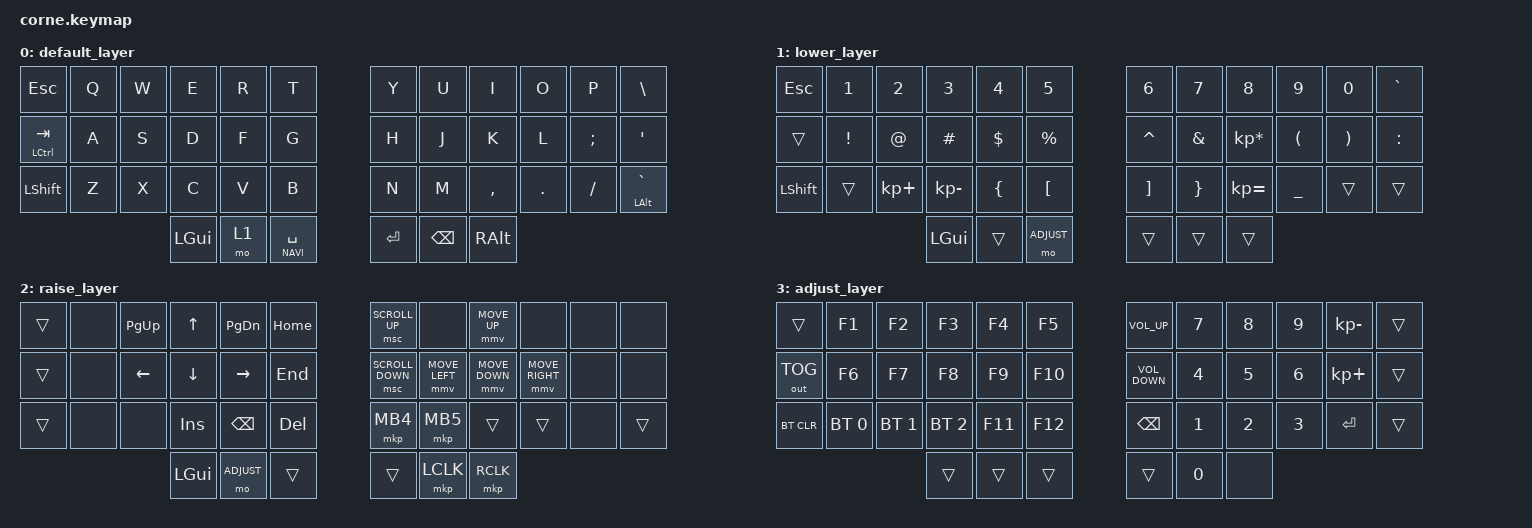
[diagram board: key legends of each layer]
/*
 * Copyright (c) 2020 The ZMK Contributors
 *
 * SPDX-License-Identifier: MIT
 */

#include <behaviors.dtsi>
#include <dt-bindings/zmk/mouse.h>
#include "mouse.dtsi"
#include <dt-bindings/zmk/bt.h>
#include <dt-bindings/zmk/ext_power.h>
#include <dt-bindings/zmk/keys.h>
#include <dt-bindings/zmk/outputs.h>
#include <dt-bindings/zmk/backlight.h>
#include <dt-bindings/zmk/rgb.h>

#define QWERTY 0
#define NUMB 1
#define NAVI 2
#define ADJUST 3

/*
&led_strip { chain-length = <27>; };
*/

/ {
    behaviors {
        hm: homerow_mods {
        compatible = "zmk,behavior-hold-tap";
        label = "HOMEROW_MODS";
        #binding-cells = <2>;
        tapping-term-ms = <130>;
        quick_tap_ms = <0>;
        flavor = "tap-preferred";
        bindings = <&kp>, <&kp>;
        };
    };

    keymap {
        compatible = "zmk,keymap";

        default_layer {
            // .--------------------------------------------------------------.       .-----------------------------------------------------------.
            // |   ESC        |    Q    |    W   |   E    |    R    |    T    |       |   Y   |    U    |    I    |    O    |     P    |    \     |
            // |--------------+---------+--------+--------+---------+---------|       |-------+---------+---------+---------+----------+----------|
            // |   CTRL/Tab   |    A    |    S   |   D    |    F    |    G    |       |   H   |    J    |    K    |    L    |     ;    |     '    |
            // |--------------+---------+--------+--------+---------+---------|       |-------+---------+---------+---------+----------+----------|
            // |   SHFT       |    Z    |    X   |   C    |    V    |    B    |       |   N   |    M    |    ,    |    .    |     /    | ` | LALT  |
            // '---------------------------------+--------+---------+---------+       |-------+---------+---------+-------------------------------'
            //                                   |  GUI   |   MO1   |   SPC   |       |   ENT |   BKSP  |  RALT   |
            //                                   '--------+---------+---------'       '-------+---------+---------'

            bindings = <
&kp ESC        &kp Q  &kp W  &kp E     &kp R  &kp T             &kp Y    &kp U     &kp I      &kp O    &kp P     &kp BACKSLASH
&mt LCTRL TAB  &kp A  &kp S  &kp D     &kp F  &kp G             &kp H    &kp J     &kp K      &kp L    &kp SEMI  &kp SQT
&kp LSHFT      &kp Z  &kp X  &kp C     &kp V  &kp B             &kp N    &kp M     &kp COMMA  &kp DOT  &kp FSLH  &mt LALT GRAVE
                                 &kp LGUI  &mo 1  &lt NAVI SPACE    &kp RET  &kp BSPC  &kp RALT
            >;
        };

        lower_layer {
            // .--------------------------------------------------------------.       .-----------------------------------------------------------.
            // |   ESC        |    1    |    2   |   3    |    4    |    5    |       |   6   |    7    |    8    |    9    |     0    |    `     |
            // |--------------+---------+--------+--------+---------+---------|       |-------+---------+---------+---------+----------+----------|
            // |              |    !    |    @   |   #    |    $    |    %    |       |   ^   |    &    |    *    |    (    |     )    |     :    |
            // |--------------+---------+--------+--------+---------+---------|       |-------+---------+---------+---------+----------+----------|
            // |   SHFT       |         |    +   |   -    |    {    |    [    |       |   ]   |    }    |    =    |    _    |          |          |
            // '---------------------------------+--------+---------+---------+       |-------+---------+---------+-------------------------------'
            //                                   |  GUI   |         |   MO3   |       |   ,   |    .    |   ?     |
            //                                   '--------+---------+---------'       '-------+---------+---------'

            bindings = <
&kp ESC    &kp N1    &kp N2       &kp N3        &kp N4          &kp N5              &kp N6             &kp N7           &kp N8           &kp N9          &kp N0    &kp GRAVE
&trans     &kp EXCL  &kp AT       &kp HASH      &kp DLLR        &kp PRCNT           &kp CARET          &kp AMPS         &kp KP_MULTIPLY  &kp LPAR        &kp RPAR  &kp COLON
&kp LSHFT  &trans    &kp KP_PLUS  &kp KP_MINUS  &kp LEFT_BRACE  &kp LEFT_BRACKET    &kp RIGHT_BRACKET  &kp RIGHT_BRACE  &kp KP_EQUAL     &kp UNDERSCORE  &trans    &trans
                                  &kp LGUI      &trans          &mo ADJUST          &trans             &trans           &trans
            >;
        };

        raise_layer {
            // .----------------------------------------------------------------.       .-----------------------------------------------------------------.
            // |   CMD+SHIFT+4  |       |   PU   |   UP   |    PD    |   HOME   |       |  scrollup  |         |    MUP   |         |          | CMD+SHIFT+4 |
            // |----------------+-------+--------+--------+----------+----------|       |---------+----------+---------+---------+----------+-------------|
            // |                |       |  LEFT  |  DOWN  |   RIGHT  |   END    |       |  scrolldw  | MLEFT   |   MDOWN  |  MRIGHT  |          |             |
            // |----------------+-------+--------+--------+----------+----------|       |---------+----------+---------+---------+----------+-------------|
            // |      SHIFT    |       |        |   INS  | BACKSPACE|  DELETE  |       |   뒤로가기  |앞으로 |        |         |          |   OUT_TOG   |
            // '---------------------------------+--------+----------+----------+       |---------+----------+---------+----------------------------------'
            //                                   |  GUI   |   MO3    |          |       |         |   Lclk   |   Rclk  |
            //                                   '--------+----------+----------'       '---------+----------+---------'

            bindings = <
&trans         &none  &kp PAGE_UP     &kp UP_ARROW    &kp PAGE_DOWN       &kp HOME               &msc SCROLL_UP    &none          &mmv MOVE_UP    &none             &none  &none
&trans          &none  &kp LEFT_ARROW  &kp DOWN_ARROW  &kp RIGHT_ARROW     &kp END                &msc SCROLL_DOWN  &mmv MOVE_LEFT  &mmv MOVE_DOWN  &mmv MOVE_RIGHT  &none  &none
&trans          &none  &none           &kp INSERT      &kp BSPC            &kp DELETE             &mkp MB4          &mkp MB5        &trans          &trans           &none  &trans
                                      &kp LGUI        &mo ADJUST          &trans                 &trans            &mkp LCLK       &mkp RCLK 
            >;
        };

        adjust_layer {
            // .--------------------------------------------------------.       .--------------------------------------------------------------.
            // |         |  F1    |   F2   |   F3   |   F4    |   F5    |       |  VOL+  |    7   |    8    |    9    |     -    |             |
            // |---------+--------+--------+--------+---------+---------|       |--------+--------+---------+---------+----------+-------------|
            // |         |  F6    |  F7    |  F8   |   F9     | F10     |       |  VOL-  |    4   |    5    |    6    |     +    |             |
            // |---------+--------+--------+--------+---------+---------|       |--------+--------+---------+---------+----------+-------------|
            // |  BTCLR  |  BT1   |  BT2   |  BT3   |   F11   |  F12    |       |        |    1   |    2    |    3    |   ENT    |             |
            // '---------------------------+--------+---------+---------+       |--------+--------+---------+----------------------------------'
            //                             |        |         |         |       |        |    0   |         |
            //                             '--------+---------+---------'       '--------+--------+---------'

            bindings = <
&trans      &kp F1        &kp F2        &kp F3        &kp F4   &kp F5     &kp C_VOLUME_UP    &kp N7     &kp N8  &kp N9     &kp KP_MINUS &trans
&out OUT_TOG  &kp F6        &kp F7        &kp F8        &kp F9   &kp F10    &kp C_VOLUME_DOWN  &kp N4     &kp N5  &kp N6     &kp KP_PLUS  &trans
&bt BT_CLR  &bt BT_SEL 0  &bt BT_SEL 1  &bt BT_SEL 2  &kp F11  &kp F12    &kp BSPC           &kp N1     &kp N2  &kp N3     &kp RET  &trans  
                                        &trans        &trans   &trans     &trans             &kp N0     &none
            >;
        };
    };
};
